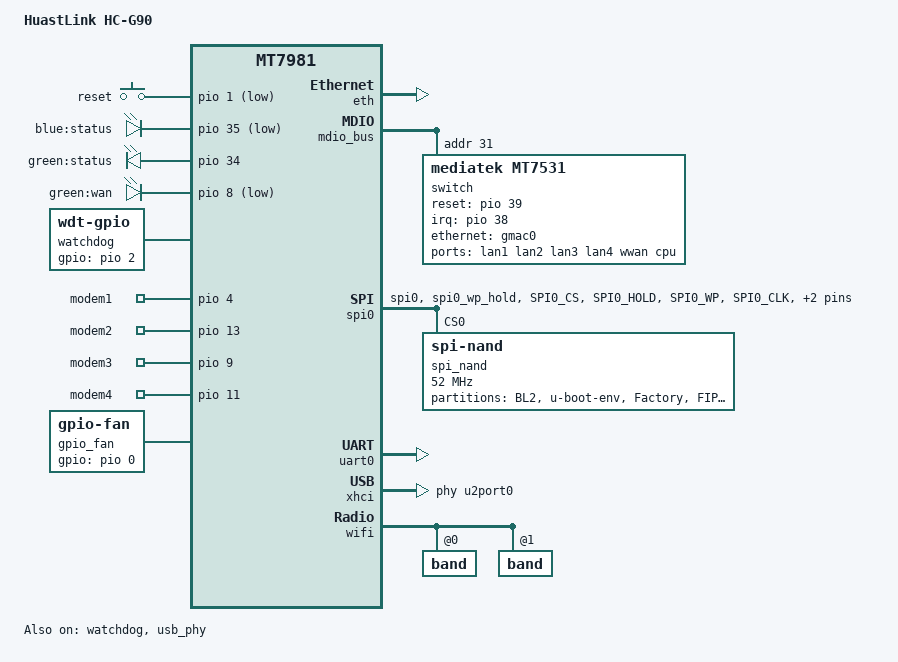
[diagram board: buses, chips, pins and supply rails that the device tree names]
// SPDX-License-Identifier: GPL-2.0-or-later OR MIT

/dts-v1/;

#include "mt7981.dtsi"

/ {
	model = "HuastLink HC-G90";
	compatible = "huastlink,hc-g90", "mediatek,mt7981";
	
	aliases {
		serial0 = &uart0;
		led-boot = &led_status_green;
		led-running = &led_status_green;
		led-failsafe = &led_status_blue;
		led-upgrade = &led_status_blue;
		label-mac-device = &gmac0;
	};
	
	chosen {
		stdout-path = "serial0:115200n8";
		bootargs = "earlycon=uart8250,mmio32,0x11002000 console=ttyS0,115200n8 loglevel=8";
	};
	
	gpio-keys {
		compatible = "gpio-keys";

		button-reset {
			label = "reset";
			linux,code = <KEY_RESTART>;
			gpios = <&pio 1 GPIO_ACTIVE_LOW>;
		};
	};
	/* NOT COMPLETE */	
	leds {
		compatible = "gpio-leds";		

		led_status_blue: blue {
			label = "blue:status";
			gpios = <&pio 35 GPIO_ACTIVE_LOW>;
		};
		// led red use same gpio. Inverted
		led_status_green: green {
                        label = "green:status";
                        gpios = <&pio 34 GPIO_ACTIVE_HIGH>;
                };
		
		wan {
			label = "green:wan";
			gpios = <&pio 8 GPIO_ACTIVE_LOW>;
		};
	};

	watchdog {
		compatible = "linux,wdt-gpio";
		gpios = <&pio 2 GPIO_ACTIVE_HIGH>;
		hw_algo = "toggle";
		hw_margin_ms = <1000>;
	};
	
	gpio-export {
		compatible = "gpio-export";
		#size-cells = <0>;
		
		modem1 {
			gpio-export,name = "modem1";
			gpio-export,output = <1>;
			gpios = <&pio 4 GPIO_ACTIVE_HIGH>;
		};
		
		modem2 {
			gpio-export,name = "modem2";
			gpio-export,output = <1>;
			gpios = <&pio 13 GPIO_ACTIVE_HIGH>;
		};

		modem3 {
			gpio-export,name = "modem3";
			gpio-export,output = <1>;
			gpios = <&pio 9 GPIO_ACTIVE_HIGH>;
		};

		modem4 {
			gpio-export,name = "modem4";
			gpio-export,output = <1>;
			gpios = <&pio 11 GPIO_ACTIVE_HIGH>;
		};
	};

	gpio_fan: gpio-fan {
		compatible = "gpio-fan";
		gpios = <&pio 0 GPIO_ACTIVE_HIGH>;
		gpio-fan,speed-map = <0 0 7500 1>; /* 0 RPM level 0, 7500 RPM for level 1 */
		#cooling-cells = <2>;
		status = "okay";
	};

};


&cpu_thermal {
	polling-delay-passive = <1000>;
	polling-delay = <5000>;
	thermal-sensors = <&thermal 0>;

	/delete-node/ trips;
       
	trips {
		cpu_fan_trip: cpu-fan-trip {
			temperature = <72000>; /* 72°C */
			hysteresis = <5000>;
			type = "active";
		};
	};

	/delete-node/ cooling-maps;
       
	cooling-maps {
		map0 {
			trip = <&cpu_fan_trip>;
			cooling-device = <&gpio_fan 1 1>;
		};
	};
};

&eth {
	status = "okay";
	
	gmac0: mac@0 {
		/* LAN  connect to MT7531 */
		compatible = "mediatek,eth-mac";
		reg = <0>;
		phy-mode = "2500base-x";
		
		nvmem-cell-names = "mac-address";
		nvmem-cells = <&mac_address_factory_4>;
		
		fixed-link {
			speed = <2500>;
			full-duplex;
			pause;
		};
	};
	
	gmac1: mac@1 {
		/* WAN */
		compatible = "mediatek,eth-mac";
		reg = <1>;
		phy-mode = "gmii";
		phy-handle = <&int_gbe_phy>;
		
		nvmem-cell-names = "mac-address";
		nvmem-cells = <&mac_address_factory_a>;
	};
};

&mdio_bus {

	#address-cells = <1>;
	#size-cells = <0>;

	switch: switch@1f {
		compatible = "mediatek,mt7531";
		reg = <31>;
		reset-gpios = <&pio 39 GPIO_ACTIVE_HIGH>;
		interrupt-controller;
		interrupt-cells = <1>;
		interrupt-parent = <&pio>;
		interrupts = <38 IRQ_TYPE_LEVEL_HIGH>;
	};
};

&spi0 {
	pinctrl-names = "default";
	pinctrl-0 = <&spi0_flash_pins>;
	status = "okay";
	
	spi_nand: flash@0 {
		#address-cells = <1>;
		#size-cells = <1>;
		compatible = "spi-nand";
		reg = <0>;

		spi-max-frequency = <52000000>;

		spi-cal-enable;
		spi-cal-mode = "read-data";
		spi-cal-datalen = <7>;
		spi-cal-data = /bits/ 8 <0x53 0x50 0x49 0x4E 0x41 0x4E 0x44>;
		spi-cal-addrlen = <5>;
		spi-cal-addr = /bits/ 32 <0x0 0x0 0x0 0x0 0x0>;

		spi-tx-bus-width = <4>;
		spi-rx-bus-width = <4>;
		
		mediatek,nmbm;
		mediatek,bmt-max-ratio = <1>;
		mediatek,bmt-max-reserved-blocks = <64>;
		
		partitions {
			compatible = "fixed-partitions";
			#address-cells = <1>;
			#size-cells = <1>;
			
			partition@0 {
				label = "BL2";
				reg = <0x0000000 0x0100000>;
				read-only;
			};
			
			partition@100000 {
				label = "u-boot-env";
				reg = <0x100000 0x80000>;
			};
			
			partition@180000 {
				label = "Factory";
				reg = <0x180000 0x200000>;
				read-only;
				
				nvmem-layout {
					compatible = "fixed-layout";
					#address-cells = <1>;
					#size-cells = <1>;
					
					eeprom_factory: eeprom@0 {
						reg = <0x0 0x1000>;
					};
					
					mac_address_factory_4: macaddr@4 {
						compatible = "mac-base";
						reg = <0x4 0x6>;
					};
					
					mac_address_factory_a: macaddr@a {
						compatible = "mac-base";
						reg = <0xa 0x6>;
					};
					
					mac_address_factory_24: maccaddr@24 {
						compatible = "mac-base";
						reg = <0x24 0x6>;
					};
					
					mac_address_factory_2a: maccaddr@2a {
						compatible = "mac-base";
						reg = <0x2a 0x6>;
					};
				};
			};
			
			partition@380000 {
				label = "FIP";
				reg = <0x380000 0x200000>;
				read-only;
			};
		
			/*
				ubi partition has size 0x7280000, but uboot
				default nmbm partitions by:
				nmbm0:1024k(bl2),512k(u-boot-env),2048k(Factory),2048k(fip),524288k(ubi)
			*/
			partition@580000 {
				label = "ubi";
				reg = <0x580000 0x20000000>;
			};
		};
	};
};

&switch {
	ports {
		#address-cells = <1>;
		#size-cells = <0>;
		
		port@0 {
			reg = <0>;
			label = "lan1";
		};
		
		port@1 {
			reg = <1>;
			label = "lan2";
		};
		
		port@2 {
			reg = <2>;
			label = "lan3";
		};
		
		port@3 {
			reg = <3>;
			label = "lan4";
		};
		
		/* port connect to rtl8125bg NIC ? */
		port@4 {
			reg = <4>;
			label = "wwan";
			/* connect to 2.5GBps NIC RTL8125BG for m.2 modem slot */
		};
		
		/* connect to gmac0 cpu */	
		port@6 {
			reg = <6>;
			label = "cpu";
			ethernet = <&gmac0>;
			phy-mode = "2500base-x";
			
			fixed-link {
				speed = <2500>;
				full-duplex;
				pause;
			};
		};
	};
};

&pio {
	spi0_flash_pins: spi0-pins {
		mux {
			function = "spi";
			groups = "spi0", "spi0_wp_hold";
		};

		conf-pu {
			pins = "SPI0_CS", "SPI0_HOLD", "SPI0_WP";
			drive-strength = <8>;
			bias-pull-up = <103>;
		};

		conf-pd {
			pins = "SPI0_CLK", "SPI0_MOSI", "SPI0_MISO";
			drive-strength = <8>;
			bias-pull-down = <103>;
		};
	};
};

&uart0 {
	status = "okay";
};

&watchdog {
	status = "okay";
};

&usb_phy {
	status = "okay";
};

&xhci {
	status = "okay";
	mediatek,u3p-dis-msk = <0x0>;
	phys = <&u2port0 PHY_TYPE_USB2>,
		<&u3port0 PHY_TYPE_USB3>;
};

&wifi {
	status = "okay";
	#address-cells = <1>;
	#size-cells = <0>;	
	nvmem-cells = <&eeprom_factory>;
	nvmem-cell-names = "eeprom";
	
	band@0 {
		reg = <0>;
		nvmem-cells = <&mac_address_factory_24>;
		nvmem-cell-names = "mac-address";
	};
	
	band@1 {
		reg = <1>;
		nvmem-cells = <&mac_address_factory_2a>;
		nvmem-cell-names = "mac-address";
	};
};
	
